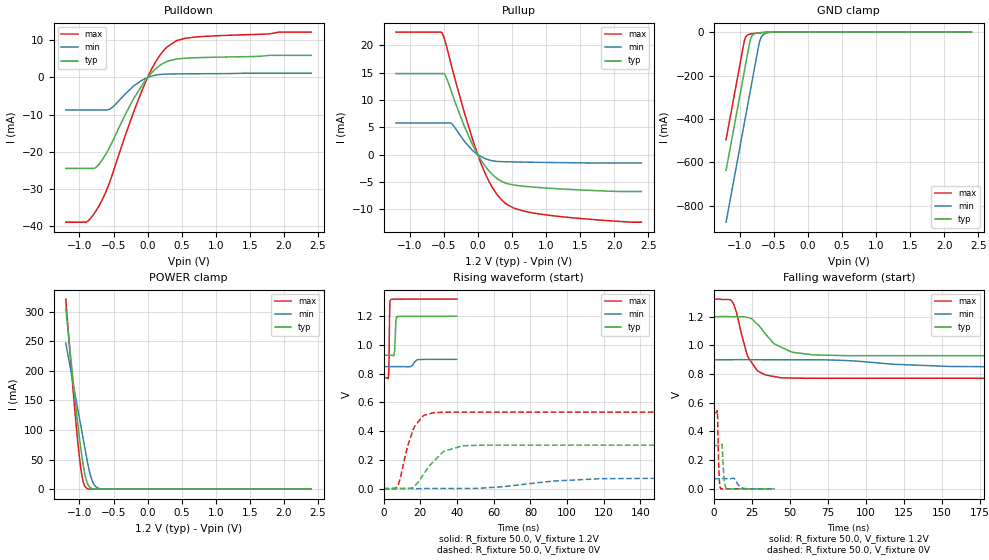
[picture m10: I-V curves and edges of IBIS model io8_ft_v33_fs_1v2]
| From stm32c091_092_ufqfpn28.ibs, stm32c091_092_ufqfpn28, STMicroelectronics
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[Model]   io8_ft_v33_fs_1v2
Model_type I/O
Polarity   Non-Inverting
Enable   Active-Low
| CAP_THRESHOLD on pad IOFT is "UDTCAPC" :
| Rising=30.0% of vddiom   Falling=70.0% of vddiom
| C_comp min and max val. don't necessarily correlate with the min and max pvt
| but are the smallest and greatest pad capacitance found.
| var   typ   min   max
C_comp   1.65351pF  1.63100pF  1.68186pF
|C_comp_pullup   961.42000fF  914.94500fF  948.72000fF
|C_comp_pulldown   692.08501fF  716.05001fF  733.13500fF
Vinl = 450.0mV
Vinh = 660.0mV
Vmeas = 600.0mV   | Reference voltage for timing measurements
Cref  = 50.0pF   | Timing specification test load capacitance value
Rref  = 1.0MOhm   | Timing specification test load resistance value
Vref  = 660.0mV   | Timing specification test load voltage
[Model Spec]
| TIME_THRESHOLD on pin ZIV33M is "CMOS" :
| Rising=50.0% of vddiom   Falling=50.0% of vddiom
Vinl 458.70000mV 361.70000mV 499.70000mV
Vinh 728.30000mV 549.30000mV 792.30000mV
| variable   typ   min   max
[Temperature Range] 25.0 125.0 -40.0
| variable   typ   min   max
[Voltage Range] 1.2V 900.0mV 1.32V
| variable   typ   min   max
[POWER Clamp Reference] 1.2V 900.0mV 1.32V
| variable   typ   min   max
[GND Clamp Reference] 0V 0V 0V
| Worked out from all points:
|   slope of the pulldown table from 0 to 0.18 V, typ, clamps not added: 55.6 ohm
|   slope of the pullup table from 0 to 0.18 V, typ, clamps not added: 56.3 ohm
|   GND clamp passes 1 mA (typ) near -0.61 V on its own axis
|   POWER clamp passes 1 mA (typ) near -0.81 V on its own axis
|   rising waveform, R_fixture 50.0, V_fixture 1.2V: 20-80 % time 544ps typ, 1.87ns min, 336ps max; typ from 0.928 V to 1.2 V
|   falling waveform, R_fixture 50.0, V_fixture 1.2V: 20-80 % time 16.5ns typ, 46.2ns min, 9.52ns max; typ from 1.2 V to 0.928 V
|   rising waveform, R_fixture 50.0, V_fixture 0V: 20-80 % time 11.6ns typ, 33.5ns min, 6.93ns max; typ from 0 V to 0.302 V
|   falling waveform, R_fixture 50.0, V_fixture 0V: 20-80 % time 1.14ns typ, 3.03ns min, 773ps max; typ from 0.302 V to 0 V
[POWER Clamp]
-1.2V     306.2mA    246.9mA    321.2mA
-1.09V    180mA      177.2mA    163.4mA
-1.05V    136.9mA    151.8mA    110.9mA
-1.01V    96.55mA    126.4mA    64.02mA
-960mV    52.29mA    94.73mA    20.68mA
-930mV    31.08mA    75.71mA    7.282mA
-900mV    15.67mA    56.69mA    2.025mA
-860mV    4.779mA    33.42mA    315.2uA
-810mV    823.2uA    13.62mA    29.21uA
-760mV    129.2uA    4.248mA    2.687uA
-690mV    9.442uA    651.7uA    95.02nA
2.4V      0A         0A         0A
[GND Clamp]
-1.2V     -636.9mA   -875.6mA   -495.8mA
-940mV    -194.9mA   -433.6mA   -53.78mA
-920mV    -160.9mA   -399.6mA   -28.06mA
-890mV    -109.9mA   -348.6mA   -14.28mA
-850mV    -43.09mA   -280.6mA   -9.18mA
-830mV    -23.96mA   -246.6mA   -8.001mA
-790mV    -9.264mA   -178.6mA   -6.254mA
-710mV    -3.12mA    -46.23mA   -3.486mA
-680mV    -2.303mA   -22.08mA   -2.625mA
-650mV    -1.674mA   -11.03mA   -1.876mA
-450mV    -34.83uA   -165.4uA   -17.32uA
2.4V      336.3pA    36.26nA    239.5pA
| variable   typ   min   max
[Pullup Reference] 1.2V 900.0mV 1.32V
| variable   typ   min   max
[Pulldown Reference] 0V 0V 0V
[Pullup]
-1.2V     14.83mA    5.782mA    22.42mA
-520mV    14.83mA    5.782mA    22.18mA
-470mV    14.33mA    5.782mA    20.38mA
-380mV    11.32mA    5.64mA     16.03mA
-200mV    5.266mA    2.482mA    7.842mA
30mV      -637.7uA   -235uA     -1.032mA
120mV     -2.298mA   -788.2uA   -3.748mA
220mV     -3.712mA   -1.145mA   -6.128mA
410mV     -5.232mA   -1.319mA   -8.966mA
540mV     -5.604mA   -1.354mA   -9.861mA
920mV     -6.061mA   -1.43mA    -10.9mA
2.4V      -6.767mA   -1.538mA   -12.38mA
[Pulldown]
-1.2V     -24.47mA   -8.75mA    -38.94mA
-890mV    -24.47mA   -8.75mA    -38.83mA
-780mV    -24.4mA    -8.75mA    -36.48mA
-710mV    -23.27mA   -8.75mA    -34.44mA
-530mV    -17.77mA   -8.214mA   -26.77mA
-330mV    -10.03mA   -4.428mA   -15.71mA
-80mV     -2.009mA   -705.4uA   -3.396mA
110mV     2.198mA    601.6uA    3.95mA
290mV     4.348mA    923.6uA    8.288mA
420mV     4.961mA    964.2uA    9.88mA
670mV     5.29mA     1.001mA    10.83mA
2.4V      5.965mA    1.157mA    12.22mA
[Ramp]
dV/dt_r 181.27625mV/11.58208ns 42.43791mV/33.53669ns 319.07163mV/6.75635ns
dV/dt_f 162.95557mV/16.5028ns 30.64444mV/46.16072ns 329.41616mV/9.49079ns
R_load = 50.0
| Removed startup time: 0s 0s 0s  .
| Removed end time: 39.85ns.
[Rising Waveform]
R_fixture   = 50.0
V_fixture   = 1.2V
V_fixture_min = 900.0mV
V_fixture_max = 1.32V
0s        928.4mV    849mV      770.7mV
2.6ns     928.5mV    849mV      772.3mV
2.85ns    928.4mV    849mV      836.5mV
3.2ns     928.4mV    849mV      1.178V
3.4ns     928.5mV    849mV      1.293V
3.8ns     928.5mV    849mV      1.314V
5.95ns    955.4mV    849mV      1.319V
6.65ns    1.161V     849mV      1.319V
7.1ns     1.198V     849mV      1.319V
39.85ns   1.2V       899.6mV    1.32V
| Removed startup time: 0s 0s 0s  .
| Removed end time: 998.0ns.
[Falling Waveform]
R_fixture   = 50.0
V_fixture   = 1.2V
V_fixture_min = 900.0mV
V_fixture_max = 1.32V
0s        1.2V       900mV      1.32V
13ns      1.2V       900.2mV    1.29V
22ns      1.195V     900.3mV    932.6mV
28ns      1.155V     900.2mV    832.2mV
39ns      1.018V     900mV      784.3mV
45ns      984.8mV    900mV      773.7mV
65ns      934.6mV    899.8mV    770.7mV
88ns      928.5mV    893.9mV    770.5mV
207ns     928.5mV    849.1mV    770.6mV
998ns     928.4mV    848.9mV    771mV
| Removed startup time: 0s 0s 0s  .
| Removed end time: 999.0ns.
[Rising Waveform]
R_fixture   = 50.0
V_fixture   = 0V
V_fixture_min = 0V
V_fixture_max = 0V
0s        428.8nV    568.4nV    4.712uV
8ns       -247.6uV   -1.023uV   28.01mV
13ns      66.49uV    17.27uV    292.1mV
17ns      18.06mV    -1.056mV   436.1mV
22ns      103.3mV    -57.56uV   510.2mV
28ns      197.8mV    -34.07uV   529mV
33ns      259.8mV    -46.01uV   531mV
54ns      301.9mV    3.271mV    532.1mV
148ns     302.1mV    70.62mV    532mV
999ns     302.1mV    70.73mV    531.8mV
| Removed startup time: 0s 0s 0s  .
| Removed end time: 39.85ns.
[Falling Waveform]
R_fixture   = 50.0
V_fixture   = 0V
V_fixture_min = 0V
V_fixture_max = 0V
0s        302.1mV    70.7mV     532mV
2.3ns     302.1mV    70.7mV     545.2mV
3.45ns    302.1mV    70.7mV     105.6mV
3.9ns     302.1mV    70.7mV     21.15mV
4.65ns    301.7mV    70.7mV     -2.236mV
5.55ns    292.3mV    70.7mV     3.37mV
6.65ns    90.42mV    70.71mV    552.9uV
8.1ns     2.397mV    70.7mV     395.9uV
19.1ns    221.6uV    4.451mV    85.51uV
39.85ns   20.54uV    -12.6uV    125.7uV
